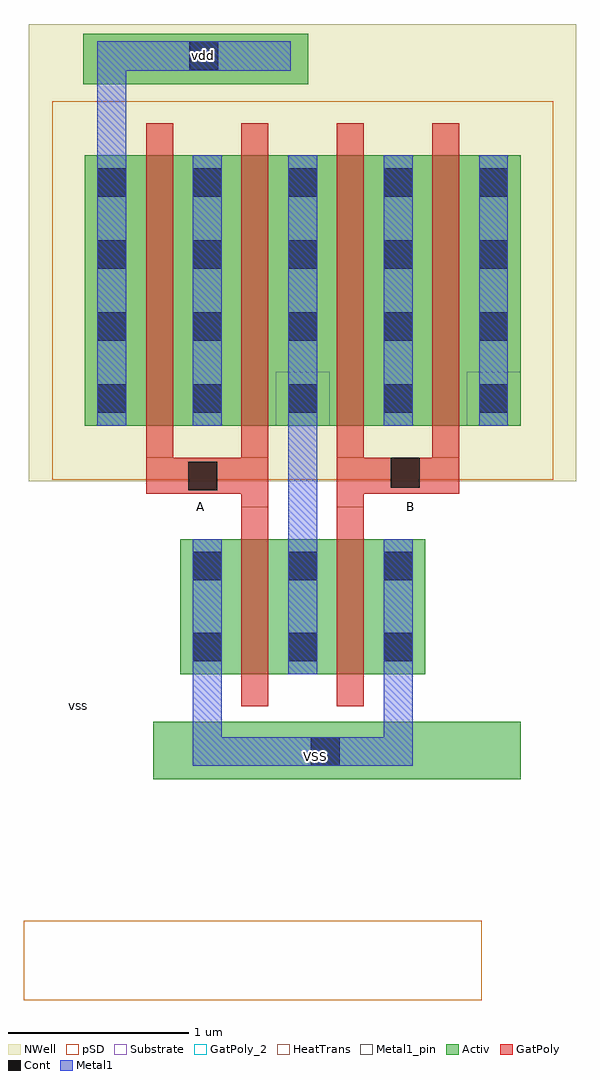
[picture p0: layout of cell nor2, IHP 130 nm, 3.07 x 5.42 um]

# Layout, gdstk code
import gdstk
lib = gdstk.Library(unit=1e-6, precision=5e-09)
def R(c, l, rs):  # rectangles x0, y0, x1, y1
    for r in rs: c.add(gdstk.rectangle(r[:2], r[2:], *l))
def A(c, l, x, y, w, h, nx, ny, dx, dy):  # array of equal rectangles
    R(c, l, [(x+i*dx, y+j*dy, x+i*dx+w, y+j*dy+h) for i in range(nx) for j in range(ny)])
Activ = (1, 0)
GatPoly = (5, 0)
GatPoly_2 = (5, 2)
Cont = (6, 0)
Metal1 = (8, 0)
Metal1_pin = (8, 2)
pSD = (14, 0)
NWell = (31, 0)
Substrate = (40, 0)
HeatTrans = (51, 0)

nmos_2 = lib.new_cell('nmos$2')
R(nmos_2, Activ, [(0,0,0.3,0.3), (0,0,0.83,0.75), (0.53,0,0.83,0.3)])
R(nmos_2, GatPoly, [(0.34,-0.18,0.49,0.93)])
R(nmos_2, GatPoly_2, [(0.34,-0.18,0.49,0.93)])
R(nmos_2, Cont, [(0.07,0.07,0.23,0.23), (0.6,0.07,0.76,0.23), (0.07,0.52,0.23,0.68), (0.6,0.52,0.76,0.68)])
R(nmos_2, Metal1, [(0.07,0,0.23,0.75), (0.6,0,0.76,0.75)])
R(nmos_2, Metal1_pin, [(0.07,0,0.23,0.75), (0.6,0,0.76,0.75)])
R(nmos_2, HeatTrans, [(0.34,-0.18,0.49,0.93)])
nmos_2.add(gdstk.Label('nmos', (0.415,0.375), layer=63, texttype=0))
nmos_2.add(gdstk.Label('nmos', (0.415,0.375), layer=51, texttype=0))

pmos = lib.new_cell('pmos')
A(pmos, Activ, 0, 0, 0.3, 0.3, 3, 1, 0.53, 0)
R(pmos, Activ, [(0,0,1.36,1.5)])
R(pmos, GatPoly, [(0.34,-0.18,0.49,1.68), (0.34,-0.18,0.49,1.68), (0.87,-0.18,1.02,1.68)])
A(pmos, Cont, 0.07, 0.07, 0.16, 0.16, 3, 4, 0.53, 0.4)
R(pmos, Metal1, [(0.07,0,0.23,1.5), (0.07,0,0.23,1.5), (0.6,0,0.76,1.5), (0.6,0,0.76,1.5), (1.13,0,1.29,1.5)])
R(pmos, pSD, [(-0.18,-0.3,1.54,1.8)])
R(pmos, NWell, [(-0.31,-0.31,1.67,1.81)])
R(pmos, Substrate, [(1.06,0,1.36,0.3)])
R(pmos, HeatTrans, [(0.34,-0.18,0.49,1.68), (0.87,-0.18,1.02,1.68)])
pmos.add(gdstk.Label('pmos', (0.415,0.75), layer=63, texttype=0))
pmos.add(gdstk.Label('pmos', (0.415,0.75), layer=51, texttype=0))
pmos.add(gdstk.Label('pmos', (0.945,0.75), layer=51, texttype=0))

nor2 = lib.new_cell('nor2')
R(nor2, Activ, [(-1.7,0.2,0.34,0.52), (-2.09,4.06,-0.84,4.34)])
R(nor2, GatPoly, [(-1.21,1.715,-1.06,1.985), (-0.68,1.715,-0.53,1.985), (-1.74,1.785,-1.21,1.985), (-0.68,1.785,0,1.985)])
R(nor2, Cont, [(-0.825,0.275,-0.665,0.435), (-1.505,1.805,-1.345,1.965), (-0.38,1.82,-0.22,1.985), (-1.5,4.14,-1.34,4.3)])
R(nor2, Metal1, [(-1.48,0.275,-1.32,1.015), (-1.48,0.275,-0.26,0.435), (-0.825,0.275,-0.665,0.435), (-0.42,0.275,-0.26,1.015), (-0.95,1.3,-0.79,2.39), (-2.01,3.44,-1.85,4.3), (-2.005,4.135,-0.935,4.3), (-1.5,4.14,-1.345,4.3)])
R(nor2, Metal1_pin, [(-0.825,0.275,-0.665,0.435), (-1.495,4.14,-1.34,4.3)])
R(nor2, pSD, [(-2.42,-1.025,0.125,-0.585)])
R(nor2, NWell, [(-2.39,3.975,0.65,4.395)])
nor2.add(gdstk.Reference(nmos_2, (-1.02,0.785)))
nor2.add(gdstk.Reference(pmos, (-1.02,2.165)))
nor2.add(gdstk.Reference(nmos_2, (-1.55,0.785)))
nor2.add(gdstk.Reference(pmos, (-2.08,2.165)))
nor2.add(gdstk.Label('vdd', (-2.695,3.78), layer=5, texttype=0))
nor2.add(gdstk.Label('A', (-1.44,1.715), layer=5, texttype=0))
nor2.add(gdstk.Label('B', (-0.27,1.715), layer=5, texttype=0))
nor2.add(gdstk.Label('vss', (-2.115,0.61), layer=8, texttype=0))
nor2.add(gdstk.Label('VSS', (-0.8,0.33), layer=8, texttype=2))
nor2.add(gdstk.Label('vdd', (-1.42,4.22), layer=8, texttype=2))

lib.write_gds('nor2.gds')
